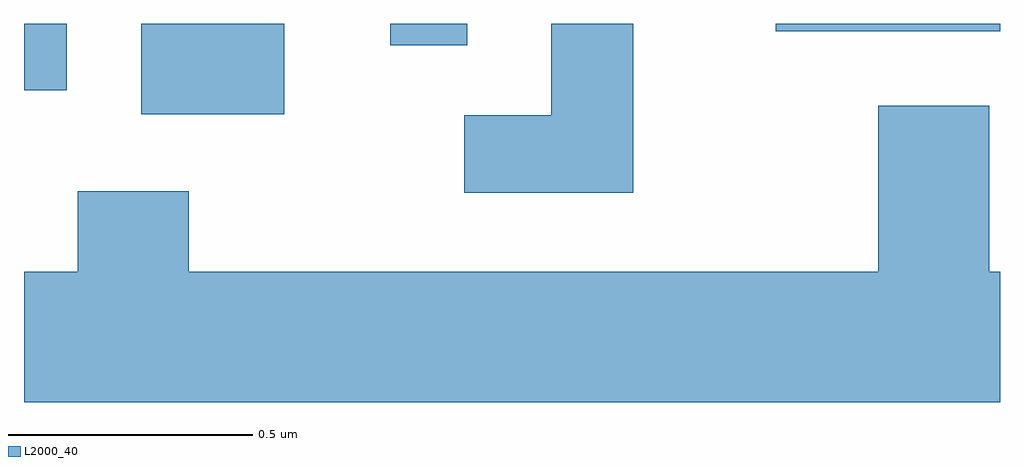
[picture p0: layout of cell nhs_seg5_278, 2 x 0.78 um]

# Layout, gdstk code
import gdstk
lib = gdstk.Library(unit=1e-6, precision=1e-09)
def R(c, l, rs):  # rectangles x0, y0, x1, y1
    for r in rs: c.add(gdstk.rectangle(r[:2], r[2:], *l))
def P(c, l, *ps):  # polygons
    for p in ps: c.add(gdstk.Polygon(p, *l))
L2000_40 = (2000, 40)

nhs_seg5_278 = lib.new_cell('nhs_seg5_278')
R(nhs_seg5_278, L2000_40, [(187.851,1401.886,188.144,1402.072), (187.611,1401.936,187.699,1402.072), (188.361,1402.028,188.519,1402.072), (189.151,1402.056,189.611,1402.072)])
P(nhs_seg5_278, L2000_40, [(188.859,1402.072),(188.691,1402.072),(188.691,1401.884),(188.513,1401.884),(188.513,1401.726),(188.859,1401.726)],
  [(189.611,1401.564),(189.589,1401.564),(189.589,1401.904),(189.361,1401.904),(189.361,1401.564),(187.949,1401.564),(187.949,1401.729),(187.721,1401.729),(187.721,1401.564),(187.611,1401.564),(187.611,1401.296),(189.611,1401.296)])

lib.write_gds('nhs_seg5_278.gds')
